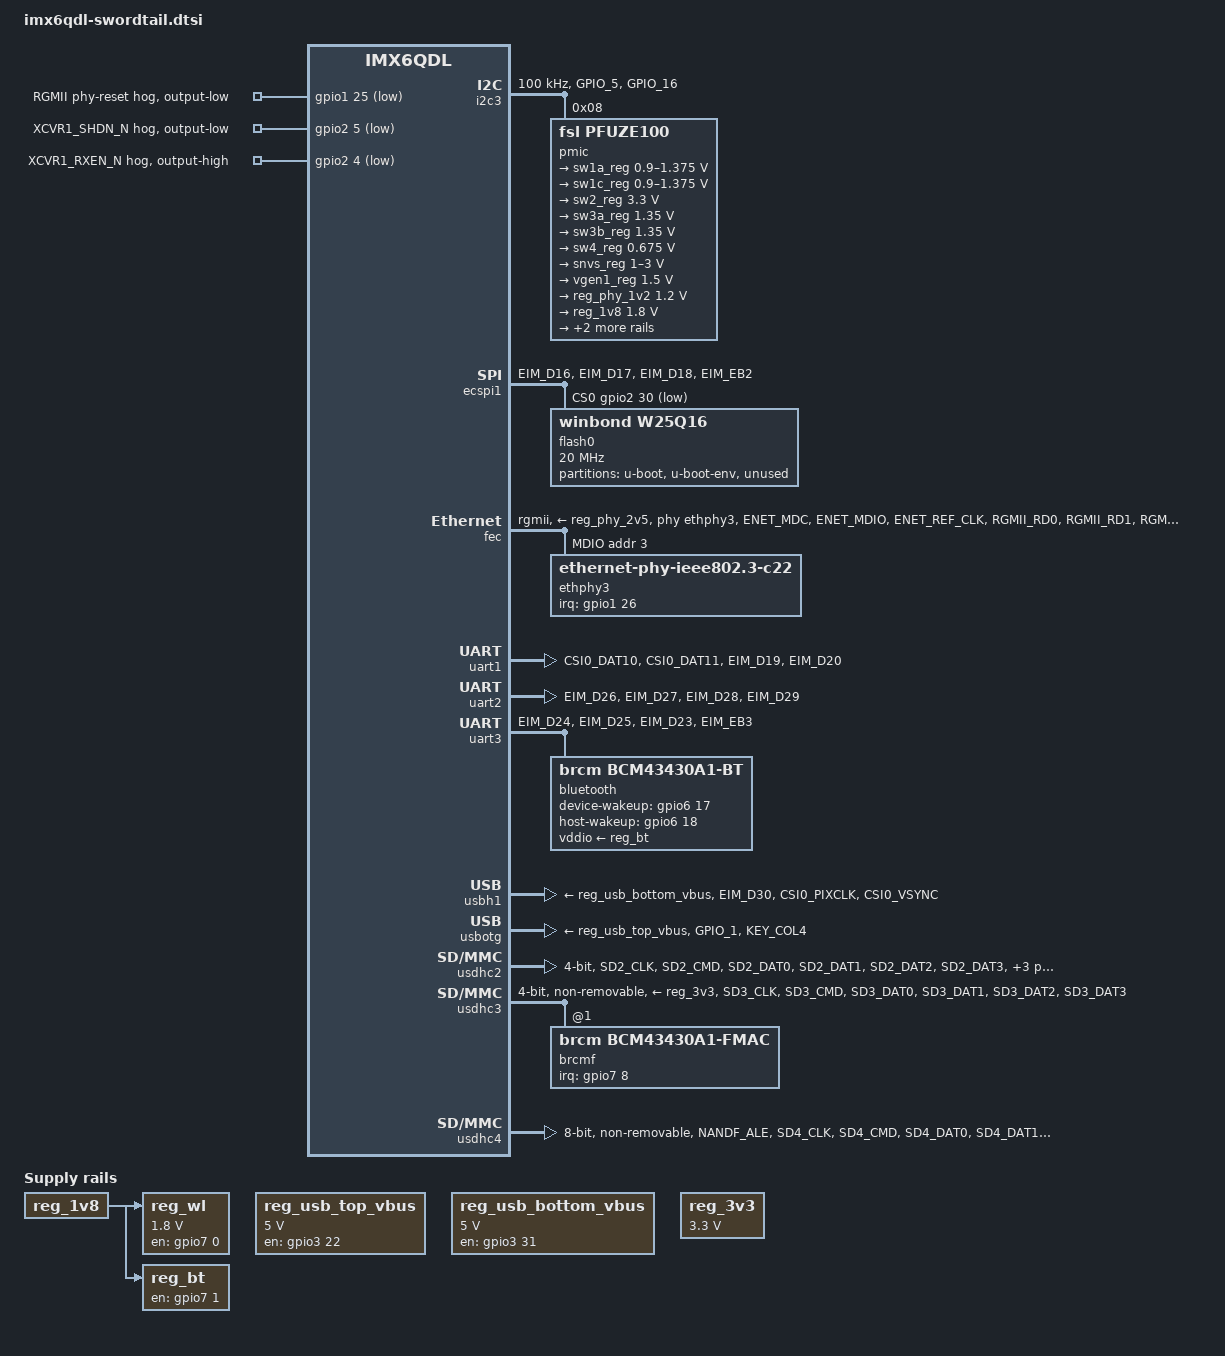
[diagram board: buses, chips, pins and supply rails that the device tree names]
// SPDX-License-Identifier: GPL-2.0

#include <dt-bindings/gpio/gpio.h>

/ {
	chosen {
		stdout-path = &uart1;
	};

	reg_usb_top_vbus: regulator-usb0-vbus {
		compatible = "regulator-fixed";
		regulator-name = "usb0_vbus";
		regulator-min-microvolt = <5000000>;
		regulator-max-microvolt = <5000000>;
		pinctrl-names = "default";
		pinctrl-0 = <&pinctrl_usb_otg_vbus>;
		gpio = <&gpio3 22 GPIO_ACTIVE_HIGH>;
		enable-active-high;
	};

	reg_usb_bottom_vbus: regulator-usb1-vbus {
		compatible = "regulator-fixed";
		regulator-name = "usb1_vbus";
		regulator-min-microvolt = <5000000>;
		regulator-max-microvolt = <5000000>;
		pinctrl-names = "default";
		pinctrl-0 = <&pinctrl_usb1_vbus>;
		gpio = <&gpio3 31 GPIO_ACTIVE_HIGH>;
		enable-active-high;
	};

	reg_3v3: regulator-3v3 {
		compatible = "regulator-fixed";
		regulator-name = "3V3";
		regulator-min-microvolt = <3300000>;
		regulator-max-microvolt = <3300000>;
		regulator-always-on;
	};

	reg_wl: regulator-wifi {
		compatible = "regulator-fixed";
		regulator-name = "wl";
		pinctrl-names = "default";
		pinctrl-0 = <&pinctrl_wifi_reg_en>;
		gpio = <&gpio7 0 GPIO_ACTIVE_HIGH>;
		vin-supply = <&reg_1v8>;
		regulator-min-microvolt = <1800000>;
		regulator-max-microvolt = <1800000>;
		startup-delay-us = <100>;
		enable-active-high;
	};

	reg_bt: regulator-bluetooth {
		compatible = "regulator-fixed";
		regulator-name = "bt";
		pinctrl-names = "default";
		pinctrl-0 = <&pinctrl_bluetooth_reg_en>;
		gpio = <&gpio7 1 GPIO_ACTIVE_HIGH>;
		vin-supply = <&reg_1v8>;
		startup-delay-us = <100>;
		enable-active-high;
	};
};

&i2c3 {
	clock-frequency = <100000>;
	pinctrl-names = "default";
	pinctrl-0 = <&pinctrl_i2c3>;
	status = "okay";

	pmic: pfuze100@08 {
		compatible = "fsl,pfuze100";
		reg = <0x08>;

		regulators {
			sw1a_reg: sw1ab {
				regulator-min-microvolt = <900000>;
				regulator-max-microvolt = <1375000>;
				regulator-boot-on;
			};

			sw1c_reg: sw1c {
				regulator-min-microvolt = <900000>;
				regulator-max-microvolt = <1375000>;
				regulator-boot-on;
			};

			sw2_reg: sw2 {
				regulator-min-microvolt = <3300000>;
				regulator-max-microvolt = <3300000>;
				regulator-boot-on;
			};

			sw3a_reg: sw3a {
				regulator-min-microvolt = <1350000>;
				regulator-max-microvolt = <1350000>;
				regulator-boot-on;
			};

			sw3b_reg: sw3b {
				regulator-min-microvolt = <1350000>;
				regulator-max-microvolt = <1350000>;
				regulator-boot-on;
			};

			sw4_reg: sw4 {
				regulator-min-microvolt = <675000>;
				regulator-max-microvolt = <675000>;
				regulator-boot-on;
			};

			snvs_reg: vsnvs {
				regulator-min-microvolt = <1000000>;
				regulator-max-microvolt = <3000000>;
				regulator-boot-on;
			};

			vref_reg: vrefddr {
				regulator-boot-on;
				regulator-always-on;
			};

			vgen1_reg: vgen1 {
				regulator-min-microvolt = <1500000>;
				regulator-max-microvolt = <1500000>;
			};

			/* Ethernet PHY AVDDL, DVDDL */
			reg_phy_1v2: vgen2 {
				regulator-name = "reg_phy_1v2";
				regulator-min-microvolt = <1200000>;
				regulator-max-microvolt = <1200000>;
				regulator-boot-on;
				regulator-always-on;
			};

			reg_1v8: vgen3 {
				regulator-min-microvolt = <1800000>;
				regulator-max-microvolt = <1800000>;
				regulator-boot-on;
				regulator-always-on;
			};

			/* Ethernet PHY: DVDDH */
			reg_phy_2v5: vgen5 {
				regulator-name = "reg_phy_2v5";
				regulator-min-microvolt = <2500000>;
				regulator-max-microvolt = <2500000>;
				regulator-boot-on;
			};

			vgen6_reg: vgen6 {
				regulator-min-microvolt = <3000000>;
				regulator-max-microvolt = <3000000>;
				regulator-boot-on;
				regulator-always-on;
			};
		};
	};
};

&ecspi1 {
	fsl,spi-num-chipselects = <1>;
	cs-gpios = <&gpio2 30 GPIO_ACTIVE_LOW>;
	pinctrl-names = "default";
	pinctrl-0 = <&pinctrl_ecspi1 &pinctrl_ecspi1_cs>;
	status = "okay";

	flash0: flash@0 {
		#address-cells = <1>;
		#size-cells = <1>;
		compatible = "winbond,w25q16", "jedec,spi-nor";
		spi-max-frequency = <20000000>;
		reg = <0>;

		partitions {
			compatible = "fixed-partitions";
			#address-cells = <1>;
			#size-cells = <1>;

			partition@0 {
				label = "u-boot";
				reg = <0x000000 0x0c0000>;
				read-only;
			};

			partition@c0000 {
				label = "u-boot-env";
				reg = <0x0c0000 0x010000>;
				read-only;
			};

			partition@d0000 {
				label = "unused";
				reg = <0x0d0000 0x130000>;
			};
		};
	};
};

&fec {
	pinctrl-names = "default";
	pinctrl-0 = <&pinctrl_enet>;
	phy-mode = "rgmii";
	status = "okay";

	phy-handle = <&ethphy3>;
	phy-supply = <&reg_phy_2v5>;

	mdio {
		#address-cells = <1>;
		#size-cells = <0>;

		ethphy3: ethernet-phy@3 {
			compatible = "ethernet-phy-ieee802.3-c22";
			reg = <3>;
			pinctrl-names = "default";
			pinctrl-0 = <&pinctrl_phy_irq_gpios>;
			interrupt-parent = <&gpio1>;
			interrupts = <26 IRQ_TYPE_LEVEL_LOW>;

			txc-skew-ps = <3000>;
			rxc-skew-ps = <3000>;
		};
	};
};

&gpio1 {
	pinctrl-names = "default";
	pinctrl-0 = <&pinctrl_phy_rgmii_reset>;
	/*
	 * The PHY straps in its configuration from the MDIO and RGMII lines
	 * upon reset de-assert. This configuration is deterministic only on
	 * hardware reset. Thus, this cannot be used as a phy-reset GPIO:
	 * "phy_poll_reset failed: -110"
	 */
	micrel_phy_reset_n {
		gpio-hog;
		gpios = <25 GPIO_ACTIVE_LOW>;
		output-low;
		line-name="RGMII phy-reset";
	};
};

&gpio2 {
	pinctrl-names = "default";
	pinctrl-0 = <&pinctrl_rs232_transciever_gpios>;

	rs232_xcvr_shdn_n {
		gpio-hog;
		gpios = <5 GPIO_ACTIVE_LOW>;
		output-low;
		line-name="XCVR1_SHDN_N";
	};

	rs232_xcvr_rx_en_n {
		gpio-hog;
		gpios = <4 GPIO_ACTIVE_LOW >;
		output-high;
		line-name="XCVR1_RXEN_N";
	};
};

&iomuxc {
	pinctrl_ecspi1: ecspi1grp {
		fsl,pins = <
			MX6QDL_PAD_EIM_D16__ECSPI1_SCLK		0x130B9
			MX6QDL_PAD_EIM_D17__ECSPI1_MISO		0x13099
			MX6QDL_PAD_EIM_D18__ECSPI1_MOSI		0x13099
		>;
	};
	pinctrl_ecspi1_cs: ecspi1cs {
		fsl,pins = <
			MX6QDL_PAD_EIM_EB2__GPIO2_IO30		0x1b098
		>;
	};

	pinctrl_enet: enetgrp {
		fsl,pins = <
			MX6QDL_PAD_ENET_MDC__ENET_MDC		0x1b0b0
			MX6QDL_PAD_ENET_MDIO__ENET_MDIO		0x1b0a0
			MX6QDL_PAD_ENET_REF_CLK__ENET_TX_CLK	0x1b0b0
			MX6QDL_PAD_RGMII_RD0__RGMII_RD0		0x1b020
			MX6QDL_PAD_RGMII_RD1__RGMII_RD1		0x1b020
			MX6QDL_PAD_RGMII_RD2__RGMII_RD2		0x1b020
			MX6QDL_PAD_RGMII_RD3__RGMII_RD3		0x1b020
			MX6QDL_PAD_RGMII_RXC__RGMII_RXC		0x13020
			MX6QDL_PAD_RGMII_RX_CTL__RGMII_RX_CTL	0x13022
			MX6QDL_PAD_RGMII_TD0__RGMII_TD0		0x1b020
			MX6QDL_PAD_RGMII_TD1__RGMII_TD1		0x1b020
			MX6QDL_PAD_RGMII_TD2__RGMII_TD2		0x1b020
			MX6QDL_PAD_RGMII_TD3__RGMII_TD3		0x1b020
			MX6QDL_PAD_RGMII_TXC__RGMII_TXC		0x13020
			MX6QDL_PAD_RGMII_TX_CTL__RGMII_TX_CTL	0x13020
		>;
	};

	pinctrl_phy_irq_gpios: phy-irq-gpios-grp {
		fsl,pins = <
			/* RGMII_INT# and RGMII_INT#_STATUS (GPIO)*/
			MX6QDL_PAD_ENET_RXD1__GPIO1_IO26	0x1b0b0
			MX6QDL_PAD_ENET_TX_EN__GPIO1_IO28	0x1b0b0
		>;
	};

	pinctrl_phy_rgmii_reset: phy-rgmii-reset-grp {
		fsl,pins = <
			MX6QDL_PAD_ENET_CRS_DV__GPIO1_IO25	0x80000000
		>;
	};

	pinctrl_i2c3: i2c3grp {
		fsl,pins = <
			MX6QDL_PAD_GPIO_5__I2C3_SCL                0x4001b899
			MX6QDL_PAD_GPIO_16__I2C3_SDA               0x4001b899
		>;
	};

	pinctrl_uart1: uart1grp {
		fsl,pins = <
			MX6QDL_PAD_CSI0_DAT10__UART1_TX_DATA	0x1b018
			MX6QDL_PAD_CSI0_DAT11__UART1_RX_DATA	0x1b018
			MX6QDL_PAD_EIM_D19__UART1_CTS_B		0x1b018
			MX6QDL_PAD_EIM_D20__UART1_RTS_B		0x1b018
		>;
	};

	pinctrl_rs232_transciever_gpios: rs232-transciever-gpios-grp {
		fsl,pins = <
			MX6QDL_PAD_NANDF_D4__GPIO2_IO04		0x13018
			MX6QDL_PAD_NANDF_D5__GPIO2_IO05		0x1b018
		>;
	};

	pinctrl_uart2: uart2grp {
		fsl,pins = <
			MX6QDL_PAD_EIM_D26__UART2_RX_DATA	0x1b018
			MX6QDL_PAD_EIM_D27__UART2_TX_DATA	0x1b018
			MX6QDL_PAD_EIM_D28__UART2_RTS_B		0x1b018
			MX6QDL_PAD_EIM_D29__UART2_CTS_B		0x1b018
		>;
	};

	pinctrl_uart3: uart3grp {
		fsl,pins = <
			MX6QDL_PAD_EIM_D24__UART3_RX_DATA	0x1b018
			MX6QDL_PAD_EIM_D25__UART3_TX_DATA	0x1b018
			MX6QDL_PAD_EIM_D23__UART3_RTS_B		0x1b018
			MX6QDL_PAD_EIM_EB3__UART3_CTS_B		0x1b018
		>;
	};

	pinctrl_bluetooth_gpios: bluetooth-gpio-group {
		fsl,pins = <
			MX6QDL_PAD_SD3_DAT6__GPIO6_IO18		0x13068
			MX6QDL_PAD_SD3_DAT7__GPIO6_IO17		0x13068
		>;
	};

	pinctrl_bluetooth_reg_en: bluetooth-reg-en-group {
		fsl,pins = <
			MX6QDL_PAD_SD3_DAT4__GPIO7_IO01		0x03029
		>;
	};

	pinctrl_usbh1: usbh1grp {
		fsl,pins = <
			MX6QDL_PAD_EIM_D30__USB_H1_OC		0x1b0b0
			MX6QDL_PAD_CSI0_PIXCLK__GPIO5_IO18	0x13098 /* USB1_SW_OE# */
			MX6QDL_PAD_CSI0_VSYNC__GPIO5_IO21	0x13098 /* USB1_SW_SEL */
		>;
	};

	pinctrl_usb1_vbus: usb1gvbusgrp {
		fsl,pins = <
			MX6QDL_PAD_EIM_D31__GPIO3_IO31		0x010b0
		>;
	};

	pinctrl_usdhc2: usdhc2grp {
		fsl,pins = <
			MX6QDL_PAD_SD2_CLK__SD2_CLK		0x100a1
			MX6QDL_PAD_SD2_CMD__SD2_CMD		0x170a1
			MX6QDL_PAD_SD2_DAT0__SD2_DATA0		0x17098
			MX6QDL_PAD_SD2_DAT1__SD2_DATA1		0x17098
			MX6QDL_PAD_SD2_DAT2__SD2_DATA2		0x17098
			MX6QDL_PAD_SD2_DAT3__SD2_DATA3		0x17098
			MX6QDL_PAD_GPIO_2__SD2_WP		0x1b098
			MX6QDL_PAD_GPIO_4__SD2_CD_B		0x1b098
			MX6QDL_PAD_GPIO_6__SD2_LCTL		0x1b098
		>;
	};

	pinctrl_usdhc3: usdhc3grp {
		fsl,pins = <
			MX6QDL_PAD_SD3_CLK__SD3_CLK		0x10079
			MX6QDL_PAD_SD3_CMD__SD3_CMD		0x17079
			MX6QDL_PAD_SD3_DAT0__SD3_DATA0		0x17069
			MX6QDL_PAD_SD3_DAT1__SD3_DATA1		0x17069
			MX6QDL_PAD_SD3_DAT2__SD3_DATA2		0x17069
			MX6QDL_PAD_SD3_DAT3__SD3_DATA3		0x17069
		>;
	};

	pinctrl_wifi_host_wake: wifi-host-wake-grp {
		fsl,pins = <
			MX6QDL_PAD_SD3_RST__GPIO7_IO08		0x13069
		>;
	};

	pinctrl_wifi_reg_en: wifi-reg-en-grp {
		fsl,pins = <
			MX6QDL_PAD_SD3_DAT5__GPIO7_IO00		0x03029
		>;
	};

	pinctrl_usdhc4: usdhc4grp {
		fsl,pins = <
			MX6QDL_PAD_NANDF_ALE__SD4_RESET		0x1b098
			MX6QDL_PAD_SD4_CLK__SD4_CLK		0x10098
			MX6QDL_PAD_SD4_CMD__SD4_CMD		0x17098
			MX6QDL_PAD_SD4_DAT0__SD4_DATA0		0x17098
			MX6QDL_PAD_SD4_DAT1__SD4_DATA1		0x17098
			MX6QDL_PAD_SD4_DAT2__SD4_DATA2		0x17098
			MX6QDL_PAD_SD4_DAT3__SD4_DATA3		0x17098
			MX6QDL_PAD_SD4_DAT4__SD4_DATA4		0x17098
			MX6QDL_PAD_SD4_DAT5__SD4_DATA5		0x17098
			MX6QDL_PAD_SD4_DAT6__SD4_DATA6		0x17098
			MX6QDL_PAD_SD4_DAT7__SD4_DATA7		0x17098
		>;
	};

	pinctrl_usbotg: usbotggrp {
		fsl,pins = <
			MX6QDL_PAD_GPIO_1__USB_OTG_ID		0x10759
			MX6QDL_PAD_KEY_COL4__USB_OTG_OC		0x1b0b0
		>;
	};

	pinctrl_usb_otg_vbus: usbotgvbusgrp {
		fsl,pins = <
			MX6QDL_PAD_EIM_D22__GPIO3_IO22		0x010b0
		>;
	};
};

&reg_arm {
	vin-supply = <&sw1a_reg>;
};

&reg_pu {
	vin-supply = <&sw1c_reg>;
};

&reg_soc {
	vin-supply = <&sw1c_reg>;
};

&uart1 {
	pinctrl-names = "default";
	pinctrl-0 = <&pinctrl_uart1>;
	uart-has-rtscts;
	status = "okay";
};

&uart2 {
	pinctrl-names = "default";
	pinctrl-0 = <&pinctrl_uart2>;
	uart-has-rtscts;
	fsl,dte-mode;
	status = "okay";
};

&uart3 {
	pinctrl-names = "default";
	pinctrl-0 = <&pinctrl_uart3>;
	uart-has-rtscts;
	fsl,dte-mode;
	status = "okay";

	bluetooth {
		pinctrl-names = "default";
		pinctrl-0 = <&pinctrl_bluetooth_gpios>;
		compatible = "brcm,bcm43430a1-bt";
		vddio-supply = <&reg_bt>;
		device-wakeup-gpios = <&gpio6 17 GPIO_ACTIVE_HIGH>;
		host-wakeup-gpios = <&gpio6 18 GPIO_ACTIVE_HIGH>;
	};
};

&usbh1 {
	vbus-supply = <&reg_usb_bottom_vbus>;
	pinctrl-names = "default";
	pinctrl-0 = <&pinctrl_usbh1>;
	over-current-active-low;
	status = "okay";
};

&usbotg {
	vbus-supply = <&reg_usb_top_vbus>;
	pinctrl-names = "default";
	pinctrl-0 = <&pinctrl_usbotg>;
	disable-over-current;
	srp-disable;
	hnp-disable;
	adp-disable;
	status = "okay";
};

&usbphy1 {
	tx-d-cal = <0x7>;
};

&usdhc2 {
	pinctrl-names = "default";
	pinctrl-0 = <&pinctrl_usdhc2>;
	bus-width = <4>;
	broken-cd;
	no-1-8-v;
	keep-power-in-suspend;
	enable-sdio-wakeup;
	status = "okay";
};

&usdhc3 {

	pinctrl-names = "default";
	pinctrl-0 = <&pinctrl_usdhc3>;
	vmmc-supply = <&reg_3v3>;
	vqmmc-supply = <&reg_wl>;
	bus-width = <4>;
	non-removable;
	keep-power-in-suspend;
	status = "okay";

	brcmf: wifi@1 {
		reg = <1>;
		compatible = "brcm,bcm43430a1-fmac";
		pinctrl-names = "default";
		pinctrl-0 = <&pinctrl_wifi_host_wake>;
		interrupt-parent = <&gpio7>;
		interrupts = <8 IRQ_TYPE_LEVEL_LOW>;
		interrupt-names = "host-wake";

	};
};

&usdhc4 {
	pinctrl-names = "default";
	pinctrl-0 = <&pinctrl_usdhc4>;
	bus-width = <8>;
	keep-power-in-suspend;
	non-removable;
	no-1-8-v;
	status = "okay";
};
